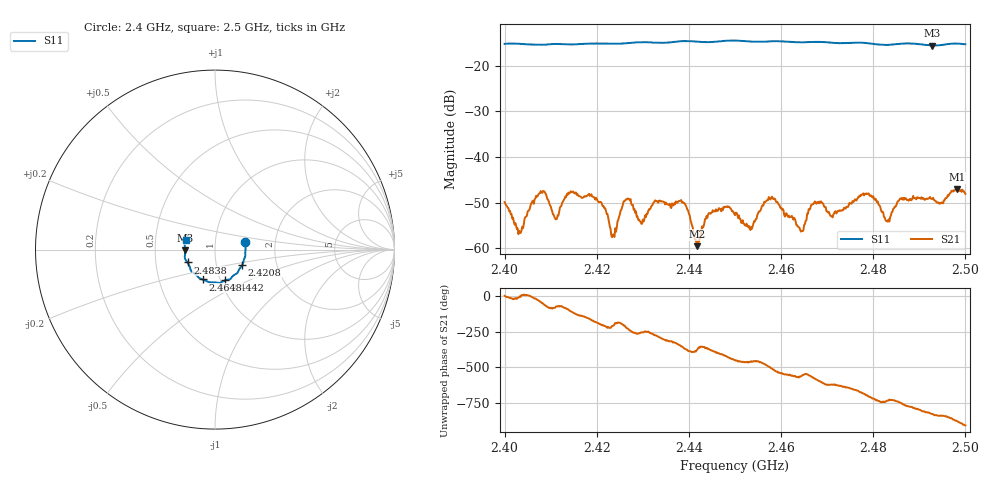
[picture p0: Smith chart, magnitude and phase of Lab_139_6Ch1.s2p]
# Hz S RI R 50
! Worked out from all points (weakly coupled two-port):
!   601 points, 2.4 GHz to 2.5 GHz, reference 50 ohm
!   highest |S21| = -47.14 dB at 2.4982 GHz (marker M1); lowest = -59.6 dB at 2.4418 GHz (marker M2)
!   lowest |S11| = -15.6 dB at 2.4928 GHz (marker M3), VSWR 1.40, Z = 35.8 - j0.357 ohm
!   |S11| at or under -10 dB: start of sweep to end of sweep
!   S12 and S22 are empty: the file has one direction only
!   S11 on the Smith chart (normalised r, x): 2.4 GHz: 1.40, +0.12; 2.4208 GHz: 1.33, -0.24; 2.4442 GHz: 1.05, -0.37; 2.4648 GHz: 0.83, -0.28; 2.4838 GHz: 0.73, -0.11; 2.5 GHz: 0.72, +0.08
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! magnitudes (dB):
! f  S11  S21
! 2.4 GHz  -15.2  -49.9
! 2.4032 GHz  -15.2  -56.2
! 2.408 GHz  -15.4  -47.8
! 2.4112 GHz  -15.3  -53.7
! 2.4167 GHz  -15.3  -48.9
! 2.4208 GHz  -15.2  -49.9
! 2.4237 GHz  -15.2  -57.0
! 2.4263 GHz  -15.1  -49.3
! 2.4333 GHz  -15.0  -50.1
! 2.4388 GHz  -14.6  -50.1
! 2.4418 GHz  -14.8  -59.6
! 2.4442 GHz  -14.9  -52.6
! 2.45 GHz  -14.5  -52.8
! 2.4582 GHz  -14.7  -48.9
! 2.4648 GHz  -14.9  -56.1
! 2.4667 GHz  -14.8  -50.4
! 2.4787 GHz  -15.1  -48.1
! 2.4833 GHz  -15.5  -53.7
! 2.4838 GHz  -15.4  -52.8
! 2.4928 GHz  -15.6  -49.2
! 2.4982 GHz  -15.2  -47.1
! 2.5 GHz  -15.3  -48.1
